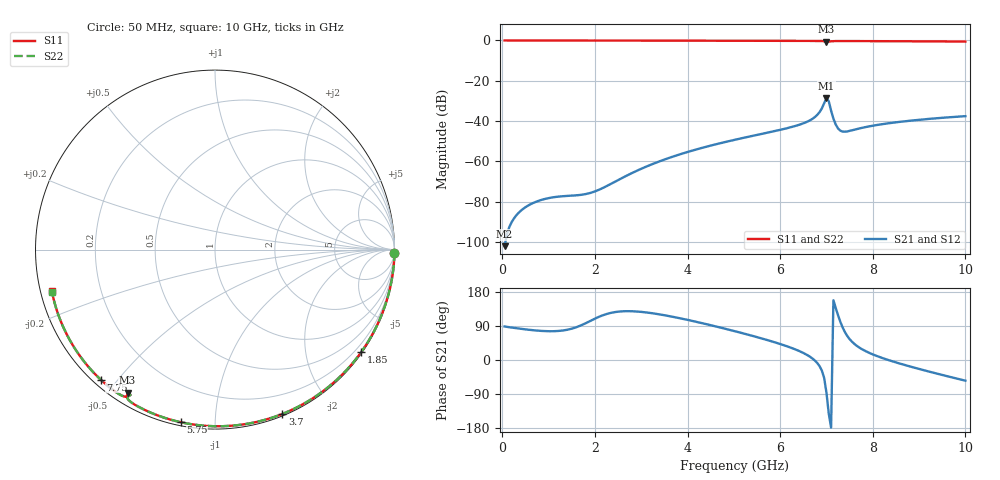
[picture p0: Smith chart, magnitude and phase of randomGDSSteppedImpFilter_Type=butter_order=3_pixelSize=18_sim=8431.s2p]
! freq	dB(S11)	phase(S11)	dB(S12)	phase(S12)
!  dB(S21)	phase(S21)	dB(S22)	phase(S22)
!S-par simulation data
#  GHz  S  DB  R 50
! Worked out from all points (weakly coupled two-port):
!   200 points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, 50 MHz to 10 GHz, reference 50 ohm
!   highest |S21| = -28.57 dB at 7 GHz (marker M1); lowest = -102.1 dB at 50 MHz (marker M2)
!   lowest |S11| = -0.6 dB at 7 GHz (marker M3), VSWR 29.59, Z = 2.22 - j28 ohm
!   |S11| at or under -10 dB: nowhere
!   |S22| runs from -0.6 to 0.0 dB; largest |S21 - S12| = 0
!   S11 on the Smith chart (normalised r, x): 50 MHz: open; 1.85 GHz: 0.03, -3.18; 3.7 GHz: 0.02, -1.49; 5.75 GHz: 0.02, -0.82; 7.75 GHz: 0.02, -0.45; 10 GHz: 0.03, -0.13
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0.05  -0.00 -1.0  -102.08 88.5  -102.08 88.5  -0.00 -1.0
0.7  -0.01 -13.4  -80.31 78.2  -80.31 78.2  -0.01 -13.4
1.1  -0.03 -20.9  -77.82 76.0  -77.82 76.0  -0.03 -20.9
1.75  -0.04 -33.1  -76.44 94.1  -76.44 94.1  -0.04 -33.0
1.85  -0.04 -34.9  -75.98 100.0  -75.98 100.0  -0.04 -34.9
2.1  -0.05 -39.5  -73.98 114.6  -73.98 114.6  -0.05 -39.5
3.4  -0.08 -62.6  -59.94 120.3  -59.94 120.3  -0.08 -62.6
3.7  -0.09 -67.8  -57.52 113.6  -57.52 113.6  -0.09 -67.7
5.05  -0.14 -90.1  -49.14 75.1  -49.14 75.1  -0.14 -90.1
5.75  -0.17 -101.3  -45.63 51.7  -45.63 51.7  -0.17 -101.2
6.35  -0.20 -110.6  -42.29 26.9  -42.29 26.9  -0.20 -110.6
6.7  -0.23 -116.2  -38.85 3.7  -38.85 3.7  -0.23 -116.2
6.85  -0.26 -118.8  -35.59 -16.0  -35.59 -16.0  -0.26 -118.8
7  -0.59 -121.4  -28.57 -86.3  -28.57 -86.3  -0.58 -121.4
7.05  -0.57 -120.2  -30.20 -141.9  -30.20 -141.9  -0.57 -120.2
7.15  -0.34 -121.7  -38.79 157.7  -38.79 157.7  -0.33 -121.7
7.2  -0.31 -122.6  -41.72 137.3  -41.72 137.3  -0.31 -122.6
7.3  -0.29 -124.3  -44.77 100.7  -44.77 100.7  -0.29 -124.3
7.4  -0.29 -125.9  -45.28 73.3  -45.28 73.3  -0.29 -125.9
7.75  -0.31 -131.4  -43.45 29.7  -43.45 29.7  -0.31 -131.3
8.35  -0.36 -140.4  -41.07 -0.6  -41.07 -0.6  -0.36 -140.4
10  -0.55 -165.6  -37.57 -54.6  -37.57 -54.6  -0.55 -165.6
